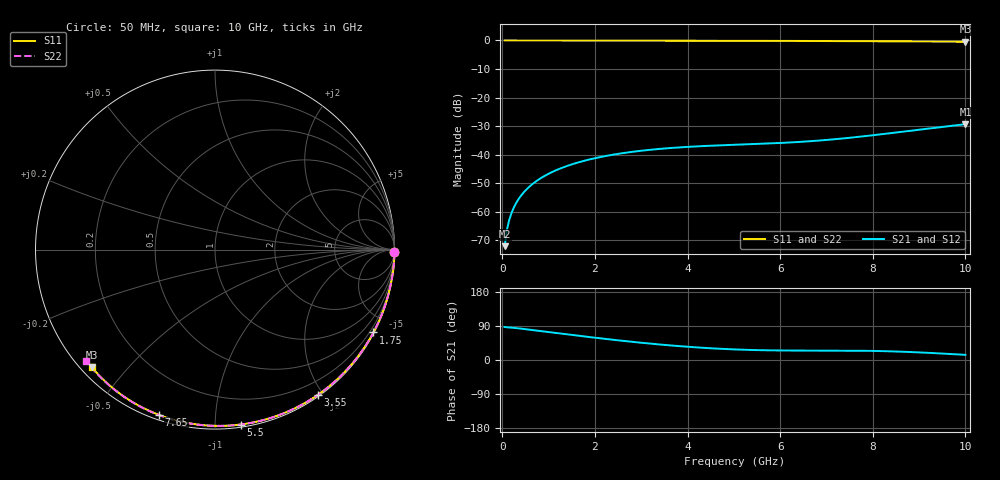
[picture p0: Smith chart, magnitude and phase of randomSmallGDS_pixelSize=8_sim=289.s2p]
! freq	dB(S11)	phase(S11)	dB(S12)	phase(S12)
!  dB(S21)	phase(S21)	dB(S22)	phase(S22)
!S-par simulation data
#  GHz  S  DB  R 50
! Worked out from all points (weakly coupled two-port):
!   200 points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, 50 MHz to 10 GHz, reference 50 ohm
!   highest |S21| = -29.35 dB at 10 GHz (marker M1); lowest = -72.1 dB at 50 MHz (marker M2)
!   lowest |S11| = -0.5 dB at 10 GHz (marker M3), VSWR 38.53, Z = 1.51 - j20.1 ohm
!   |S11| at or under -10 dB: nowhere
!   |S22| runs from -0.5 to 0.0 dB; largest |S21 - S12| = 0
!   S11 on the Smith chart (normalised r, x): 50 MHz: open; 1.75 GHz: 0.04, -4.07; 3.55 GHz: 0.02, -1.94; 5.5 GHz: 0.02, -1.16; 7.65 GHz: 0.02, -0.72; 10 GHz: 0.03, -0.40
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0.05  -0.00 -0.8  -72.10 87.0  -72.10 87.0  -0.00 -0.8
0.1  -0.00 -1.6  -66.31 86.3  -66.31 86.3  -0.00 -1.6
0.15  -0.00 -2.4  -62.89 85.9  -62.89 85.9  -0.00 -2.5
0.2  -0.00 -3.2  -60.44 85.4  -60.44 85.4  -0.00 -3.3
0.25  -0.00 -4.0  -58.53 84.8  -58.53 84.8  -0.00 -4.1
0.35  -0.00 -5.6  -55.65 83.5  -55.65 83.5  -0.00 -5.7
0.5  -0.01 -8.0  -52.59 81.4  -52.59 81.4  -0.01 -8.2
0.7  -0.01 -11.2  -49.72 78.4  -49.72 78.4  -0.01 -11.4
1  -0.02 -15.9  -46.72 73.8  -46.72 73.8  -0.02 -16.3
1.35  -0.03 -21.4  -44.27 68.4  -44.27 68.4  -0.03 -21.9
1.75  -0.04 -27.6  -42.25 62.5  -42.25 62.5  -0.04 -28.3
2.5  -0.05 -39.1  -39.75 51.9  -39.75 51.9  -0.05 -40.0
3.4  -0.07 -52.4  -38.00 40.9  -38.00 40.9  -0.07 -53.6
3.55  -0.07 -54.6  -37.80 39.3  -37.80 39.3  -0.08 -55.9
4.3  -0.09 -65.3  -37.04 32.4  -37.04 32.4  -0.09 -66.8
5.05  -0.12 -75.6  -36.55 27.7  -36.55 27.7  -0.12 -77.3
5.5  -0.13 -81.6  -36.28 26.1  -36.28 26.1  -0.14 -83.4
6.7  -0.19 -97.1  -35.26 24.9  -35.26 24.9  -0.19 -99.2
7.65  -0.24 -108.7  -33.86 24.6  -33.86 24.6  -0.25 -111.1
8.35  -0.29 -117.1  -32.57 23.0  -32.57 23.0  -0.30 -119.6
9.2  -0.37 -127.0  -30.89 18.9  -30.89 18.9  -0.38 -129.8
10  -0.45 -136.3  -29.35 13.6  -29.35 13.6  -0.46 -139.3
